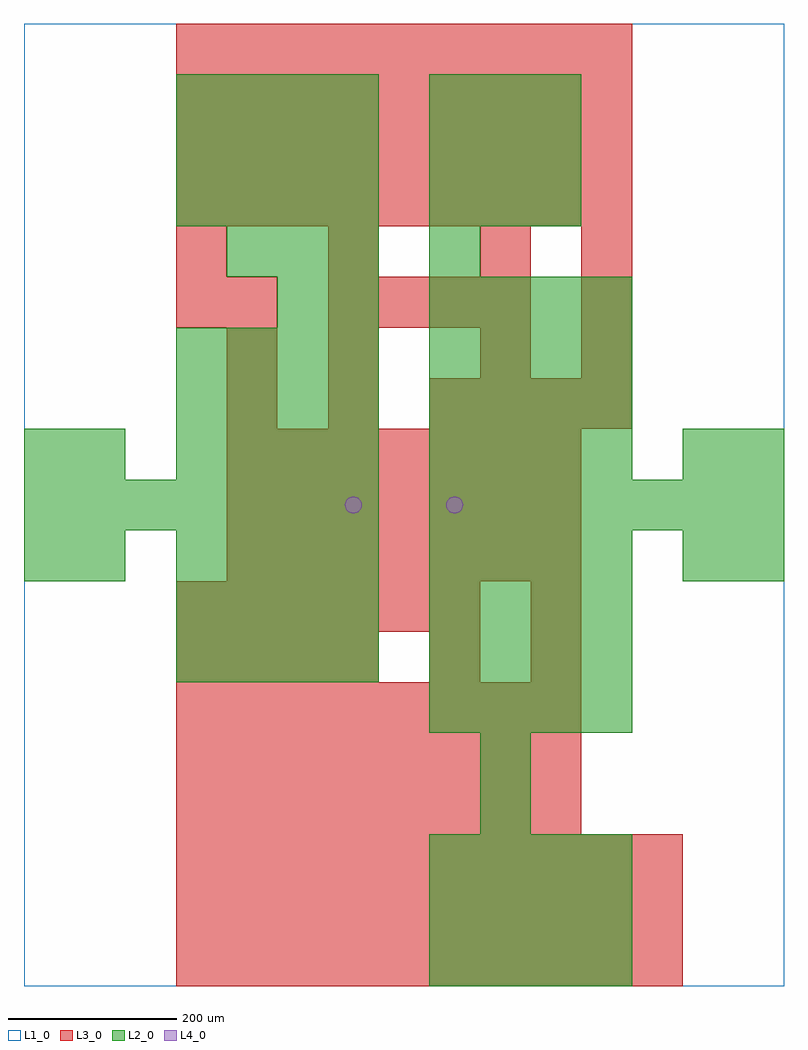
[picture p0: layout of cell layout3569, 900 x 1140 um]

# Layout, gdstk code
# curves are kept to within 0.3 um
import gdstk
lib = gdstk.Library(unit=1e-6, precision=1e-09)
def R(c, l, rs):  # rectangles x0, y0, x1, y1
    for r in rs: c.add(gdstk.rectangle(r[:2], r[2:], *l))
def A(c, l, x, y, w, h, nx, ny, dx, dy):  # array of equal rectangles
    R(c, l, [(x+i*dx, y+j*dy, x+i*dx+w, y+j*dy+h) for i in range(nx) for j in range(ny)])
def P(c, l, *ps):  # polygons
    for p in ps: c.add(gdstk.Polygon(p, *l))
L1_0 = (1, 0)
L2_0 = (2, 0)
L3_0 = (3, 0)
L4_0 = (4, 0)

layout3569 = lib.new_cell('layout3569')
R(layout3569, L1_0, [(0,0,900,1140)])
A(layout3569, L2_0, 480, 0, 60, 60, 4, 3, 60, 60)
A(layout3569, L2_0, 480, 300, 60, 60, 4, 4, 60, 60)
A(layout3569, L2_0, 180, 360, 60, 60, 4, 3, 60, 60)
A(layout3569, L2_0, 0, 540, 60, 60, 7, 1, 60, 0)
A(layout3569, L2_0, 480, 540, 60, 60, 7, 1, 60, 0)
A(layout3569, L2_0, 180, 600, 60, 60, 4, 3, 60, 60)
A(layout3569, L2_0, 480, 600, 60, 60, 4, 4, 60, 60)
A(layout3569, L2_0, 240, 840, 60, 60, 3, 1, 60, 0)
A(layout3569, L2_0, 180, 900, 60, 60, 4, 3, 60, 60)
A(layout3569, L2_0, 480, 900, 60, 60, 3, 3, 60, 60)
R(layout3569, L2_0, [(540,180,600,240), (540,240,600,300), (0,480,60,540), (60,480,120,540), (780,480,840,540), (840,480,900,540), (0,600,60,660), (60,600,120,660), (780,600,840,660), (840,600,900,660), (300,780,360,840), (360,780,420,840), (480,840,540,900)])
A(layout3569, L3_0, 180, 0, 60, 60, 10, 3, 60, 60)
A(layout3569, L3_0, 180, 180, 60, 60, 8, 3, 60, 60)
A(layout3569, L3_0, 180, 360, 60, 60, 4, 1, 60, 0)
A(layout3569, L3_0, 180, 420, 60, 60, 6, 1, 60, 0)
A(layout3569, L3_0, 240, 480, 60, 60, 7, 3, 60, 60)
A(layout3569, L3_0, 240, 660, 60, 60, 3, 1, 120, 0)
A(layout3569, L3_0, 540, 660, 60, 60, 3, 1, 60, 0)
A(layout3569, L3_0, 660, 720, 60, 60, 1, 3, 0, 60)
A(layout3569, L3_0, 360, 780, 60, 60, 4, 1, 60, 0)
A(layout3569, L3_0, 180, 840, 60, 60, 3, 1, 180, 0)
A(layout3569, L3_0, 180, 900, 60, 60, 9, 4, 60, 60)
R(layout3569, L3_0, [(480,360,540,420), (600,360,660,420), (600,420,660,480), (240,720,300,780), (360,720,420,780), (540,720,600,780), (180,780,240,840), (240,780,300,840)])
P(layout3569, L4_0, [(400,570),(399.239,573.827),(397.071,577.071),(393.827,579.239),(390,580),(386.173,579.239),(382.929,577.071),(380.761,573.827),(380,570),(380.761,566.173),(382.929,562.929),(386.173,560.761),(390,560),(393.827,560.761),(397.071,562.929),(399.239,566.173)],
  [(520,570),(519.239,573.827),(517.071,577.071),(513.827,579.239),(510,580),(506.173,579.239),(502.929,577.071),(500.761,573.827),(500,570),(500.761,566.173),(502.929,562.929),(506.173,560.761),(510,560),(513.827,560.761),(517.071,562.929),(519.239,566.173)])

lib.write_gds('layout3569.gds')
